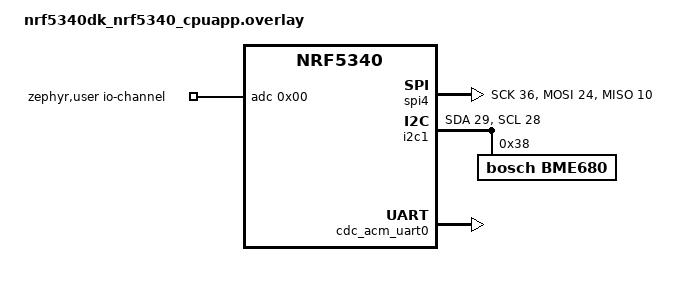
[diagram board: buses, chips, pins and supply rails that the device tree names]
/ {
	aliases {
		hito-lcd = &spi4;
    hito-ctp = &i2c1;
	};

  zephyr,user {

    io-channels = <&adc 0x00>;
    
    /*
    // Dev board
    lcd-dcx-pin   = <0x28>; // P1.08
    lcd-reset-pin = <21>; // P0.21
    lcd-power-pin = <0x26>; // P1.06
    lcd-led-pin   = <16>; // P0.16
    lcd-cs-pin    = <19>; // P0.19

    ctp-power-pin     = <0x2A>; // P1.10 - Red
    ctp-int-pin       = <27>;   // P0.27 - Blue
    ctp-reset-pin     = <26>;   // P0.26 - Magenta

    nand-cs-pin       = <41>; // P1.09
    nand-miso-pin     = <10>; // P0.10
    nand-hold-pin     = <12>; // P0.12

    led-red-pin       = <28>; // P0.28, LED1 on nRF DK
    led-green-pin     = <29>; // P0.29, LED2 on nRF DK
    led-blue-pin      = <30>; // P0.30, LED3 on nRF DK

    led-debug-pin     = <31>; // P0.31, LED4 on nRF DK
    devboard-pin      = <3>;  // P0.03, connected to VDD on nRF DK

    charge-pin        = <9>; // P0.09, Button4 on nRF DK
    
    button-pin        = <23>; // P0.23, Button1 on nRF DK

    watchdog-sec      = <30>;
    dev-board         = <1>;
    */

    
    // Device
    lcd-dcx-pin   = <0x28>; // P1.08
    lcd-reset-pin = <21>; // P0.21 n.c.
    lcd-power-pin = <0x26>; // P1.06
    lcd-led-pin   = <16>; // P0.16
    lcd-cs-pin    = <19>; // P0.19

    ctp-power-pin     = <0x2A>; // P1.10
    ctp-int-pin       = <27>;   // P0.27
    ctp-reset-pin     = <26>;   // P0.26

    nand-cs-pin       = <0x22>; // P1.02
    nand-miso-pin     = <10>; // P0.10
    nand-hold-pin     = <9>; // P0.09

    led-red-pin       = <4>; // P0.04
    led-blue-pin      = <5>; // P0.05
    led-green-pin     = <6>; // P0.06

    led-debug-pin     = <13>; // P0.13
    devboard-pin      = <3>;  // P0.03, connected to VDD on nRF DK

    charge-pin        = <13>; // P0.13
    
    button-pin        = <8>; // P0.08

    watchdog-sec      = <180>;
    dev-board         = <0>;

  };

  pwmleds {
    pwm_led0: pwm_led_0 {
      pwms = < &pwm0 0x10 >;
    };
  };

};

// reduce memory by 2kb for app settings and ram vault
&sram0_image {
  reg = < 0x20000000 0x6f800 >;
};


&pwm0 {
  ch0-pin = < 0x10 >;
  //ch0-inverted;
};

&spi4 {
  compatible = "nordic,nrf-spim";
  status = "okay";
  sck-pin = <0x24>; // P1.04
  mosi-pin = <24>;  // P0.24
  miso-pin = <10>;  // P0.10 ??
  //dcx-pin = <30>;
  cs-gpios = <&gpio0 19 GPIO_ACTIVE_LOW>;
};

&i2c1 {
  //sda-pin = < 7 >;  // dev board - yellow
  //scl-pin = < 25 >; // dev board - greeen
  
  sda-pin = < 29 >; // device
  scl-pin = < 28 >; // device
  
  bme680@38 {
		compatible = "bosch,bme680";
		label = "BME680";
        reg = <0x38>;
  };
};

&qspi {
  status = "disabled";
};
&spi1 {
  status = "disabled";
};
&spi2 {
  status = "disabled";
};
&spi3 {
  status = "disabled";
};

&button1 {
  status = "disabled";
};
&i2c0 {
  status = "disabled";
};
&usbd {
    cdc_acm_uart0: cdc_acm_uart0 {
        compatible = "zephyr,cdc-acm-uart";
        label = "CDC_ACM_0";
    };
};
